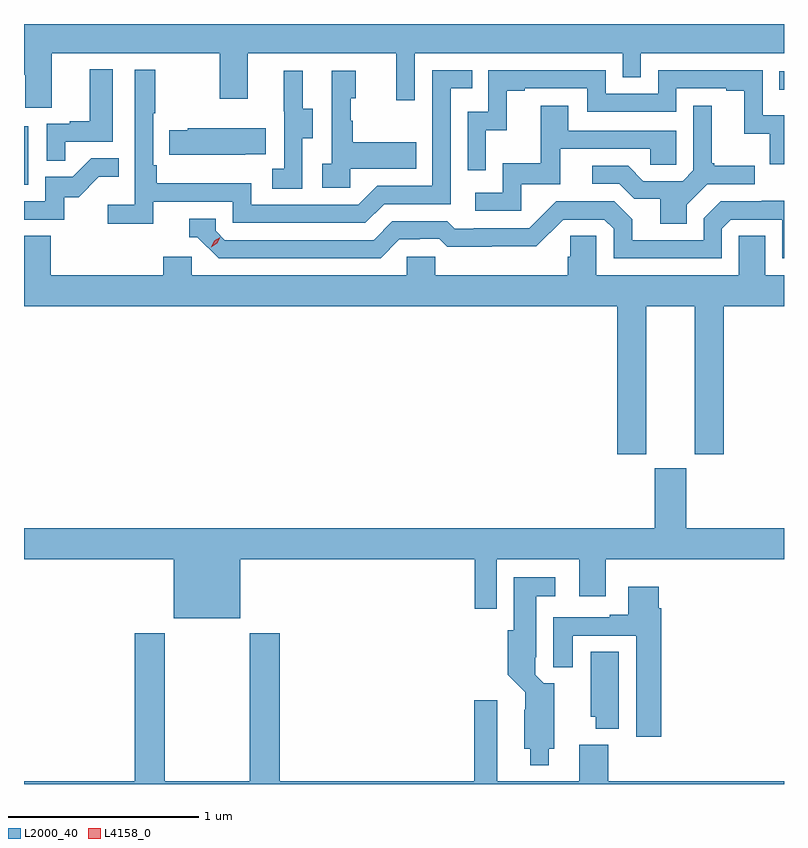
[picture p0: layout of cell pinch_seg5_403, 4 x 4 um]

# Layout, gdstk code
import gdstk
lib = gdstk.Library(unit=1e-6, precision=1e-09)
def R(c, l, rs):  # rectangles x0, y0, x1, y1
    for r in rs: c.add(gdstk.rectangle(r[:2], r[2:], *l))
def P(c, l, *ps):  # polygons
    for p in ps: c.add(gdstk.Polygon(p, *l))
L2000_40 = (2000, 40)
L4158_0 = (4158, 0)

pinch_seg5_403 = lib.new_cell('pinch_seg5_403')
R(pinch_seg5_403, L2000_40, [(987.749,861.396,987.772,861.703), (991.723,861.896,991.749,861.993)])
P(pinch_seg5_403, L2000_40, [(987.895,862.088),(988.78,862.088),(988.78,861.849),(988.927,861.849),(988.927,862.088),(989.708,862.088),(989.708,861.84),(989.805,861.84),(989.805,862.088),(990.9,862.088),(990.9,861.961),(990.996,861.961),(990.996,862.088),(991.749,862.088),(991.749,862.242),(987.749,862.242),(987.749,861.976),(987.755,861.976),(987.755,861.802),(987.895,861.802)],
  [(987.965,861.621),(988.216,861.621),(988.216,862.003),(988.094,862.003),(988.094,861.73),(987.991,861.73),(987.991,861.717),(987.87,861.717),(987.87,861.523),(987.965,861.523)],
  [(988.43,861.306),(988.848,861.306),(988.848,861.195),(989.545,861.195),(989.644,861.294),(989.994,861.294),(989.994,861.903),(990.107,861.903),(990.107,861.999),(989.898,861.999),(989.898,861.39),(989.607,861.39),(989.508,861.291),(988.944,861.291),(988.944,861.403),(988.448,861.403),(988.448,861.499),(988.428,861.499),(988.428,861.772),(988.441,861.772),(988.441,862),(988.332,862),(988.332,861.292),(988.191,861.292),(988.191,861.19),(988.43,861.19)],
  [(990.18,861.683),(990.29,861.683),(990.29,861.891),(990.385,861.891),(990.385,861.903),(990.714,861.903),(990.714,861.78),(991.182,861.78),(991.182,861.903),(991.445,861.903),(991.445,861.891),(991.541,861.891),(991.541,861.665),(991.674,861.665),(991.674,861.504),(991.749,861.504),(991.749,861.763),(991.638,861.763),(991.638,861.999),(991.086,861.999),(991.086,861.876),(990.81,861.876),(990.81,861.999),(990.192,861.999),(990.192,861.78),(990.084,861.78),(990.084,861.471),(990.18,861.471)],
  [(989.214,861.64),(989.269,861.64),(989.269,861.795),(989.215,861.795),(989.215,861.997),(989.117,861.997),(989.117,861.783),(989.118,861.783),(989.118,861.479),(989.055,861.479),(989.055,861.376),(989.214,861.376)],
  [(989.466,861.479),(989.813,861.479),(989.813,861.619),(989.479,861.619),(989.479,861.734),(989.469,861.734),(989.469,861.852),(989.494,861.852),(989.494,861.997),(989.37,861.997),(989.37,861.506),(989.319,861.506),(989.319,861.381),(989.466,861.381)],
  [(991.237,861.292),(991.344,861.399),(991.594,861.399),(991.594,861.496),(991.381,861.496),(991.381,861.508),(991.369,861.508),(991.369,861.811),(991.272,861.811),(991.272,861.471),(991.215,861.414),(991.009,861.414),(990.928,861.495),(990.741,861.495),(990.741,861.402),(990.882,861.402),(990.962,861.322),(991.097,861.322),(991.097,861.19),(991.237,861.19)],
  [(990.366,861.399),(990.571,861.399),(990.571,861.585),(991.045,861.585),(991.045,861.501),(991.182,861.501),(991.182,861.681),(990.613,861.681),(990.613,861.811),(990.469,861.811),(990.469,861.508),(990.27,861.508),(990.27,861.354),(990.123,861.354),(990.123,861.258),(990.366,861.258)],
  [(988.913,861.557),(989.021,861.557),(989.021,861.694),(988.611,861.694),(988.611,861.684),(988.513,861.684),(988.513,861.554),(988.913,861.554)],
  [(987.96,861.33),(988.036,861.33),(988.143,861.437),(988.247,861.437),(988.247,861.536),(988.104,861.536),(988.006,861.438),(987.861,861.438),(987.861,861.309),(987.749,861.309),(987.749,861.213),(987.96,861.213)],
  [(989.725,861.108),(989.832,861.108),(989.832,861.111),(989.935,861.111),(989.977,861.069),(990.21,861.069),(990.21,861.071),(990.446,861.071),(990.588,861.213),(990.804,861.213),(990.852,861.165),(990.852,861.009),(991.422,861.009),(991.422,861.165),(991.47,861.213),(991.74,861.213),(991.74,861.009),(991.749,861.009),(991.749,861.311),(991.632,861.311),(991.632,861.309),(991.416,861.309),(991.326,861.219),(991.326,861.105),(990.949,861.105),(990.949,861.215),(990.855,861.309),(990.549,861.309),(990.408,861.168),(990.115,861.168),(990.115,861.165),(990.016,861.165),(989.977,861.204),(989.688,861.204),(989.589,861.105),(988.806,861.105),(988.758,861.153),(988.758,861.216),(988.619,861.216),(988.619,861.12),(988.662,861.12),(988.773,861.009),(989.626,861.009)],
  [(990.762,861.128),(990.625,861.128),(990.625,861.018),(990.611,861.018),(990.611,860.92),(989.913,860.92),(989.913,861.018),(989.763,861.018),(989.763,860.92),(988.632,860.92),(988.632,861.018),(988.481,861.018),(988.481,860.92),(987.89,860.92),(987.89,861.128),(987.749,861.128),(987.749,860.756),(990.872,860.756),(990.872,859.977),(991.024,859.977),(991.024,860.756),(991.28,860.756),(991.28,859.977),(991.433,859.977),(991.433,860.756),(991.749,860.756),(991.749,860.92),(991.651,860.92),(991.651,861.128),(991.512,861.128),(991.512,860.92),(990.762,860.92)],
  [(988.888,859.424),(990.121,859.424),(990.121,859.164),(990.237,859.164),(990.237,859.424),(990.671,859.424),(990.671,859.23),(990.811,859.23),(990.811,859.424),(991.749,859.424),(991.749,859.588),(991.234,859.588),(991.234,859.905),(991.07,859.905),(991.07,859.588),(987.749,859.588),(987.749,859.424),(988.538,859.424),(988.538,859.115),(988.888,859.115)],
  [(990.511,858.428),(990.541,858.428),(990.541,858.772),(990.485,858.772),(990.441,858.816),(990.441,858.91),(990.445,858.91),(990.445,859.229),(990.544,859.229),(990.544,859.33),(990.326,859.33),(990.326,859.05),(990.296,859.05),(990.296,858.818),(990.387,858.726),(990.387,858.632),(990.383,858.632),(990.383,858.428),(990.413,858.428),(990.413,858.341),(990.511,858.341)],
  [(991.103,859.166),(991.09,859.166),(991.09,859.279),(990.929,859.279),(990.929,859.132),(990.833,859.132),(990.833,859.119),(990.534,859.119),(990.534,858.857),(990.637,858.857),(990.637,859.023),(990.971,859.023),(990.971,858.492),(991.103,858.492)],
  [(991.749,858.256),(990.824,858.256),(990.824,858.448),(990.671,858.448),(990.671,858.256),(990.241,858.256),(990.241,858.682),(990.119,858.682),(990.119,858.256),(989.096,858.256),(989.096,859.036),(988.936,859.036),(988.936,858.256),(988.491,858.256),(988.491,859.036),(988.331,859.036),(988.331,858.256),(987.749,858.256),(987.749,858.242),(991.749,858.242)],
  [(990.88,858.938),(990.731,858.938),(990.731,858.597),(990.758,858.597),(990.758,858.533),(990.88,858.533)])
P(pinch_seg5_403, L4158_0, [(988.734,861.068),(988.734,861.068),(988.75,861.1),(988.781,861.119),(988.782,861.119),(988.782,861.119),(988.765,861.087),(988.734,861.068)])

lib.write_gds('pinch_seg5_403.gds')
